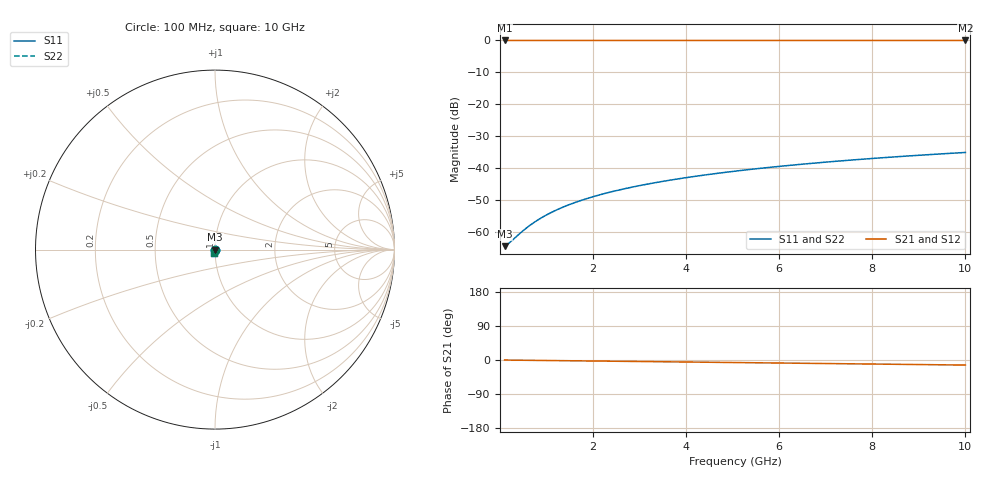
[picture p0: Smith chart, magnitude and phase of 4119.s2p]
# Hz S RI R 50.00
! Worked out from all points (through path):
!   100 points, 100 MHz to 10 GHz, reference 50 ohm
!   highest |S21| = 0.00 dB at 100 MHz (marker M1); lowest = 0.0 dB at 10 GHz (marker M2)
!   group delay of S21, straight-line fit = 3.71 ps
!   lowest |S11| = -64.6 dB at 100 MHz (marker M3), VSWR 1.00, Z = 50.1 - j0.0175 ohm
!   |S11| at or under -10 dB: start of sweep to end of sweep
!   |S22| runs from -64.6 to -35.2 dB; largest |S21 - S12| = 0
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1e8  0.000566 -0.000175  0.9994 -0.0023  0.9994 -0.0023  0.000566 -0.000175
2e8  0.000567 -0.00035  0.9994 -0.00461  0.9994 -0.00461  0.000567 -0.00035
5e8  0.000562 -0.000875  0.9993 -0.0115  0.9993 -0.0115  0.000562 -0.000875
6e8  0.000558 -0.00105  0.9993 -0.0138  0.9993 -0.0138  0.000558 -0.00105
7e8  0.000554 -0.00123  0.9993 -0.0161  0.9993 -0.0161  0.000554 -0.00123
9e8  0.000541 -0.00158  0.9992 -0.0207  0.9992 -0.0207  0.000541 -0.00158
1.1e9  0.000525 -0.00193  0.9991 -0.0254  0.9991 -0.0254  0.000525 -0.00193
1.3e9  0.000506 -0.00228  0.9989 -0.03  0.9989 -0.03  0.000506 -0.00228
1.5e9  0.000483 -0.00263  0.9988 -0.0346  0.9988 -0.0346  0.000483 -0.00263
1.8e9  0.000442 -0.00316  0.9985 -0.0415  0.9985 -0.0415  0.000442 -0.00316
2.1e9  0.000394 -0.00369  0.9982 -0.0484  0.9982 -0.0484  0.000394 -0.00369
2.5e9  0.000318 -0.00439  0.9977 -0.0577  0.9977 -0.0577  0.000318 -0.00439
2.9e9  0.000228 -0.0051  0.9971 -0.0669  0.9971 -0.0669  0.000228 -0.0051
3.4e9  9.77e-05 -0.00598  0.9962 -0.0785  0.9962 -0.0785  9.77e-05 -0.00598
3.8e9  -2.17e-05 -0.00668  0.9955 -0.0877  0.9955 -0.0877  -2.17e-05 -0.00668
4.2e9  -0.000155 -0.00739  0.9946 -0.0969  0.9946 -0.0969  -0.000155 -0.00739
5.1e9  -0.000502 -0.00897  0.9923 -0.1178  0.9923 -0.1178  -0.000502 -0.00897
5.9e9  -0.000866 -0.0104  0.9899 -0.1363  0.9899 -0.1363  -0.000866 -0.0104
6.7e9  -0.00128 -0.0117  0.9872 -0.1547  0.9872 -0.1547  -0.00128 -0.0117
7.5e9  -0.00175 -0.0131  0.9841 -0.1732  0.9841 -0.1732  -0.00175 -0.0131
8.4e9  -0.00233 -0.0146  0.9801 -0.194  0.9801 -0.194  -0.00233 -0.0146
1e10  -0.00352 -0.0171  0.972 -0.2308  0.972 -0.2308  -0.00352 -0.0171
